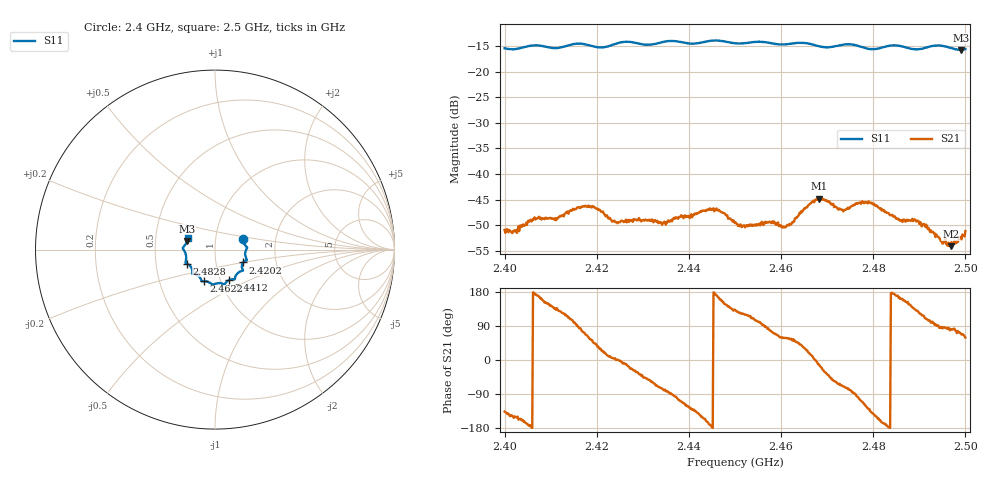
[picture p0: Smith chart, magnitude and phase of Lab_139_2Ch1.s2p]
# Hz S RI R 50
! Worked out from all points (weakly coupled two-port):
!   601 points, 2.4 GHz to 2.5 GHz, reference 50 ohm
!   highest |S21| = -44.80 dB at 2.4682 GHz (marker M1); lowest = -54.1 dB at 2.4968 GHz (marker M2)
!   lowest |S11| = -15.8 dB at 2.499 GHz (marker M3), VSWR 1.39, Z = 36.4 + j3.58 ohm
!   |S11| at or under -10 dB: start of sweep to end of sweep
!   S12 and S22 are empty: the file has one direction only
!   S11 on the Smith chart (normalised r, x): 2.4 GHz: 1.36, +0.17; 2.4202 GHz: 1.35, -0.20; 2.4412 GHz: 1.09, -0.39; 2.4622 GHz: 0.83, -0.30; 2.4828 GHz: 0.72, -0.12; 2.5 GHz: 0.73, +0.09
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2.4e9  0.1573 0.0609  -0.00205 -0.00197  0 0  0 0
2.402167e9  0.1615 0.0353  -0.00235 -0.00143  0 0  0 0
2.406e9  0.1792 0.0126  -0.00349 -3.52e-05  0 0  0 0
2.411e9  0.1682 -0.0183  -0.00268 0.00256  0 0  0 0
2.416667e9  0.1773 -0.0592  0.000949 0.0047  0 0  0 0
2.420167e9  0.1568 -0.0718  0.00378 0.00262  0 0  0 0
2.424e9  0.1522 -0.1071  0.00338 0.000265  0 0  0 0
2.433333e9  0.1127 -0.152  0.00113 -0.00311  0 0  0 0
2.441167e9  0.0757 -0.1714  -0.00281 -0.00286  0 0  0 0
2.446167e9  0.0509 -0.1944  -0.00431 0.000885  0 0  0 0
2.45e9  0.0272 -0.1867  -0.00223 0.00246  0 0  0 0
2.462167e9  -0.0626 -0.1762  0.00176 0.00267  0 0  0 0
2.466667e9  -0.0773 -0.1675  0.00522 0.00106  0 0  0 0
2.468167e9  -0.0825 -0.1565  0.00565 -0.0011  0 0  0 0
2.4735e9  -0.1231 -0.1356  0.0015 -0.00405  0 0  0 0
2.479167e9  -0.1308 -0.1023  -0.00335 -0.00409  0 0  0 0
2.482833e9  -0.1578 -0.0779  -0.00416 -0.000532  0 0  0 0
2.483333e9  -0.1607 -0.0766  -0.00413 -0.000171  0 0  0 0
2.489333e9  -0.1617 -0.0316  -0.00222 0.00261  0 0  0 0
2.496833e9  -0.1681 0.0232  0.000303 0.00195  0 0  0 0
2.499e9  -0.1556 0.0479  0.000824 0.00228  0 0  0 0
2.5e9  -0.1532 0.0619  0.00142 0.00238  0 0  0 0
